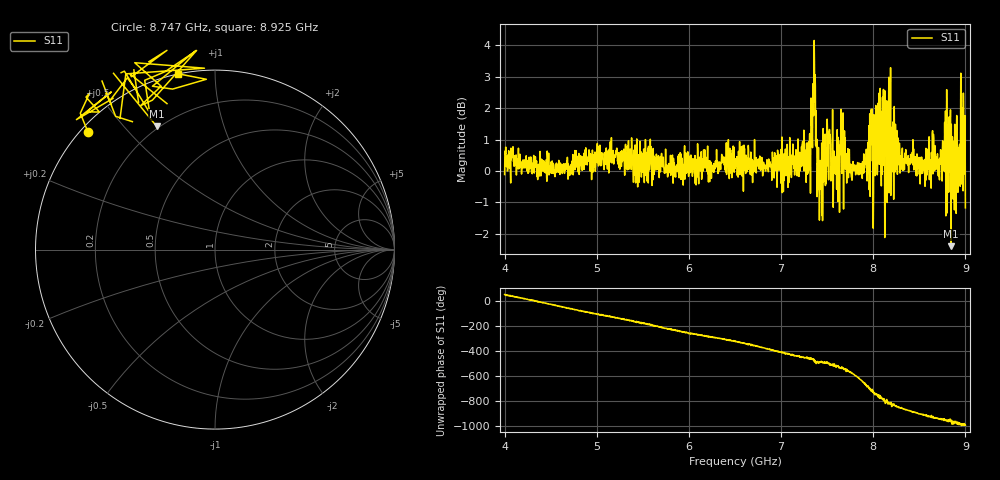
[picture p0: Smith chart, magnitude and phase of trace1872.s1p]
! Created with skrf 1.8.0 (http://scikit-rf.org).
# Hz S RI R 50.0
!freq ReS11 ImS11
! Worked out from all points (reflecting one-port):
!   1601 points, 4 GHz to 9 GHz, reference 50 ohm
!   lowest |S11| = -2.4 dB at 8.844 GHz (marker M1), VSWR 7.31, Z = 9.51 + j30.8 ohm
!   phase of S11 starts at 52 deg and turns -1046 deg over the sweep
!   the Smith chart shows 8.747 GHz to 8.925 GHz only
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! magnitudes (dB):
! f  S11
! 4 GHz  -0.1
! 4.625 GHz  -0.1
! 5.25 GHz  0.1
! 5.875 GHz  0.1
! 6.5 GHz  0.1
! 7.125 GHz  0.5
! 7.294 GHz  0.0
! 7.347 GHz  2.8
! 7.381 GHz  1.0
! 7.4 GHz  0.1
! 7.428 GHz  0.1
! 7.519 GHz  1.2
! 7.591 GHz  0.4
! 7.662 GHz  0.4
! 7.75 GHz  0.1
! 7.916 GHz  0.2
! 7.969 GHz  0.9
! 8.022 GHz  0.2
! 8.05 GHz  2.2
! 8.097 GHz  -0.1
! 8.162 GHz  1.5
! 8.216 GHz  1.6
! 8.375 GHz  0.2
! 8.725 GHz  0.2
! 8.816 GHz  0.8
! 8.844 GHz  -2.4
! 8.972 GHz  0.2
! 9 GHz  -1.2
